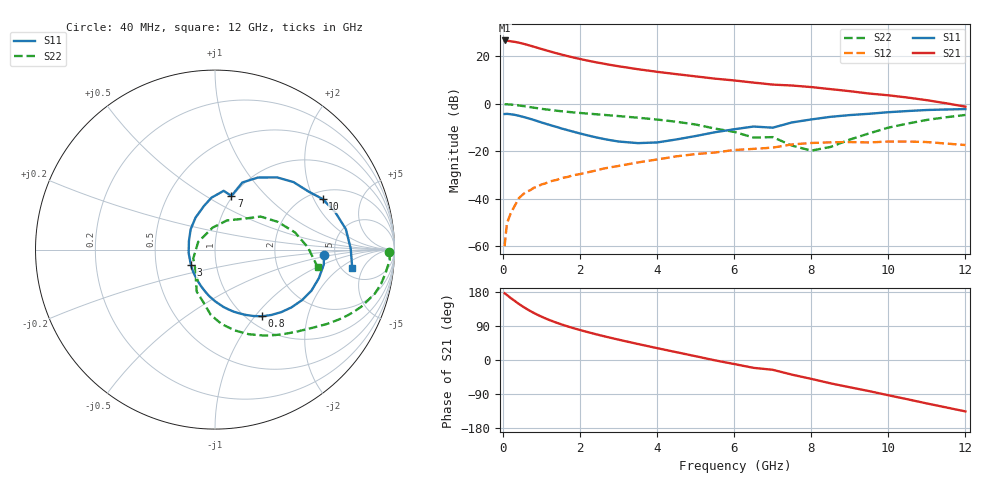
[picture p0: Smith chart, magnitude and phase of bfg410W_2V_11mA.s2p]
! Filename: 211bfg410.001
! BFG410W Field B1
! V1=8.795E-001V,V2=2.000E+000V, I1=1.735E-004A, I2=1.102E-002A
# GHz  S  MA  R 50
!  S11  S21  S12  S22
!Freq(GHz)  Mag  Ang  Mag  Ang  Mag  Ang  Mag  Ang
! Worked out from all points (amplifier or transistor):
!   44 points, 40 MHz to 12 GHz, reference 50 ohm
!   highest |S21| = 26.7 dB at 40 MHz (marker M1)
!   |S21| within 3 dB of that: start of sweep to 874.1 MHz
!   unconditionally stable (mu >= 1): start of sweep to 42.67 MHz; 1.772 GHz to end of sweep
!   at 700 MHz: K = 0.55, MSG = 30.5 dB, |S12| = -36.5 dB
!   at 2.4 GHz: K = 1.15, MAG = 20.5 dB, |S12| = -28.2 dB
!   at 12 GHz: K = 1.50, MAG = 3.9 dB, |S12| = -17.4 dB
!   S11 on the Smith chart (normalised r, x): 40 MHz: 4.05, -0.38; 800 MHz: 1.16, -1.09; 3 GHz: 0.75, -0.14; 7 GHz: 0.99, +0.65; 10 GHz: 2.34, +2.36; 12 GHz: 6.09, -3.17
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0.04  0.607 -2.8  21.51 176.1  0.001 62.7  0.972 -0.7
0.1  0.612 -7.8  21.2 171.7  0.003 87.1  0.975 -3.4
0.2  0.6 -15.5  20.66 163.4  0.005 81.0  0.959 -7.9
0.3  0.584 -23.0  20.11 156.1  0.007 78.8  0.945 -11.6
0.4  0.561 -30.1  19.39 148.6  0.01 75.1  0.924 -15.4
0.5  0.534 -37.1  18.56 141.8  0.012 71.7  0.898 -18.3
0.6  0.508 -43.2  17.68 135.6  0.014 69.3  0.876 -21.2
0.8  0.455 -54.8  15.86 124.1  0.017 65.1  0.826 -26.3
1.1  0.38 -69.2  13.45 109.8  0.021 61.4  0.762 -32.3
1.4  0.323 -81.6  11.5 98.0  0.025 59.0  0.711 -37.2
1.8  0.261 -97.1  9.524 84.9  0.031 56.6  0.66 -43.0
2.2  0.215 -112.1  8.083 73.5  0.036 54.3  0.62 -48.7
3  0.16 -146.7  6.153 53.6  0.049 48.4  0.55 -60.5
3.5  0.148 -172.4  5.338 42.3  0.058 43.5  0.508 -68.2
4.5  0.177 140.0  4.198 20.6  0.078 31.3  0.417 -84.8
5.5  0.251 104.1  3.376 -0.9  0.094 16.2  0.3 -102.5
6.5  0.331 81.6  2.789 -20.7  0.112 2.0  0.194 -123.3
7  0.313 73.0  2.529 -25.8  0.119 5.7  0.198 -119.3
8.5  0.53 49.4  2.031 -61.6  0.154 -32.0  0.123 96.3
10  0.663 25.1  1.506 -93.0  0.16 -61.7  0.314 35.9
10.5  0.702 17.2  1.349 -103.6  0.16 -72.1  0.382 23.9
12  0.772 -7.8  0.868 -135.6  0.135 -109.5  0.58 -9.7
